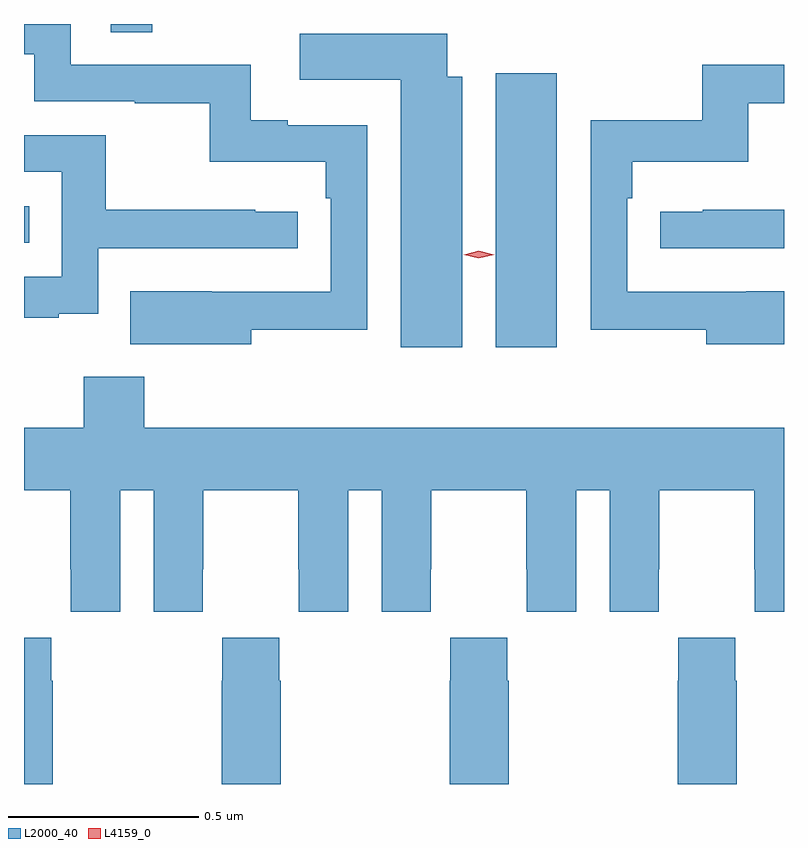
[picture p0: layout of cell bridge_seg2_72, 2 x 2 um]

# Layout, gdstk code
import gdstk
lib = gdstk.Library(unit=1e-6, precision=1e-09)
def R(c, l, rs):  # rectangles x0, y0, x1, y1
    for r in rs: c.add(gdstk.rectangle(r[:2], r[2:], *l))
def P(c, l, *ps):  # polygons
    for p in ps: c.add(gdstk.Polygon(p, *l))
L2000_40 = (2000, 40)
L4159_0 = (4159, 0)

bridge_seg2_72 = lib.new_cell('bridge_seg2_72')
R(bridge_seg2_72, L2000_40, [(1032.044,622.704,1032.205,623.425), (1030.803,622.98,1030.817,623.076), (1031.031,623.533,1031.14,623.555)])
P(bridge_seg2_72, L2000_40, [(1031.401,622.75),(1031.706,622.75),(1031.706,623.289),(1031.497,623.289),(1031.497,623.302),(1031.4,623.302),(1031.4,623.448),(1030.926,623.448),(1030.926,623.555),(1030.803,623.555),(1030.803,623.475),(1030.83,623.475),(1030.83,623.352),(1031.095,623.352),(1031.095,623.347),(1031.292,623.347),(1031.292,623.192),(1031.597,623.192),(1031.597,623.096),(1031.61,623.096),(1031.61,622.851),(1031.297,622.851),(1031.297,622.852),(1031.083,622.852),(1031.083,622.712),(1031.401,622.712)],
  [(1031.956,623.416),(1031.917,623.416),(1031.917,623.53),(1031.529,623.53),(1031.529,623.408),(1031.795,623.408),(1031.795,622.704),(1031.956,622.704)],
  [(1032.803,622.852),(1032.703,622.852),(1032.703,622.851),(1032.39,622.851),(1032.39,623.096),(1032.404,623.096),(1032.404,623.192),(1032.709,623.192),(1032.709,623.347),(1032.803,623.347),(1032.803,623.448),(1032.588,623.448),(1032.588,623.302),(1032.294,623.302),(1032.294,622.75),(1032.599,622.75),(1032.599,622.712),(1032.803,622.712)],
  [(1030.895,622.793),(1030.998,622.793),(1030.998,622.965),(1031.524,622.965),(1031.524,623.061),(1031.411,623.061),(1031.411,623.066),(1031.018,623.066),(1031.018,623.262),(1030.803,623.262),(1030.803,623.166),(1030.902,623.166),(1030.902,622.89),(1030.803,622.89),(1030.803,622.782),(1030.895,622.782)],
  [(1032.803,623.066),(1032.589,623.066),(1032.589,623.061),(1032.477,623.061),(1032.477,622.965),(1032.803,622.965)],
  [(1031.12,622.627),(1030.96,622.627),(1030.96,622.492),(1030.803,622.492),(1030.803,622.328),(1030.925,622.328),(1030.925,622.12),(1030.926,622.12),(1030.926,622.008),(1031.056,622.008),(1031.056,622.328),(1031.144,622.328),(1031.144,622.008),(1031.274,622.008),(1031.274,622.12),(1031.275,622.12),(1031.275,622.328),(1031.525,622.328),(1031.525,622.12),(1031.526,622.12),(1031.526,622.008),(1031.656,622.008),(1031.656,622.328),(1031.744,622.328),(1031.744,622.008),(1031.874,622.008),(1031.874,622.12),(1031.875,622.12),(1031.875,622.328),(1032.125,622.328),(1032.125,622.12),(1032.126,622.12),(1032.126,622.008),(1032.256,622.008),(1032.256,622.328),(1032.344,622.328),(1032.344,622.008),(1032.474,622.008),(1032.474,622.12),(1032.475,622.12),(1032.475,622.328),(1032.725,622.328),(1032.725,622.12),(1032.726,622.12),(1032.726,622.008),(1032.803,622.008),(1032.803,622.492),(1031.12,622.492)],
  [(1032.078,621.827),(1032.075,621.827),(1032.075,621.94),(1031.925,621.94),(1031.925,621.827),(1031.923,621.827),(1031.923,621.555),(1032.078,621.555)],
  [(1032.678,621.827),(1032.675,621.827),(1032.675,621.94),(1032.525,621.94),(1032.525,621.827),(1032.523,621.827),(1032.523,621.555),(1032.678,621.555)],
  [(1030.878,621.827),(1030.875,621.827),(1030.875,621.94),(1030.803,621.94),(1030.803,621.555),(1030.878,621.555)],
  [(1031.478,621.827),(1031.475,621.827),(1031.475,621.94),(1031.325,621.94),(1031.325,621.827),(1031.323,621.827),(1031.323,621.555),(1031.478,621.555)])
P(bridge_seg2_72, L4159_0, [(1032,622.938),(1031.96,622.948),(1031.96,622.948),(1031.96,622.948),(1032,622.958),(1032.04,622.948),(1032.04,622.948),(1032.04,622.948)])

lib.write_gds('bridge_seg2_72.gds')
